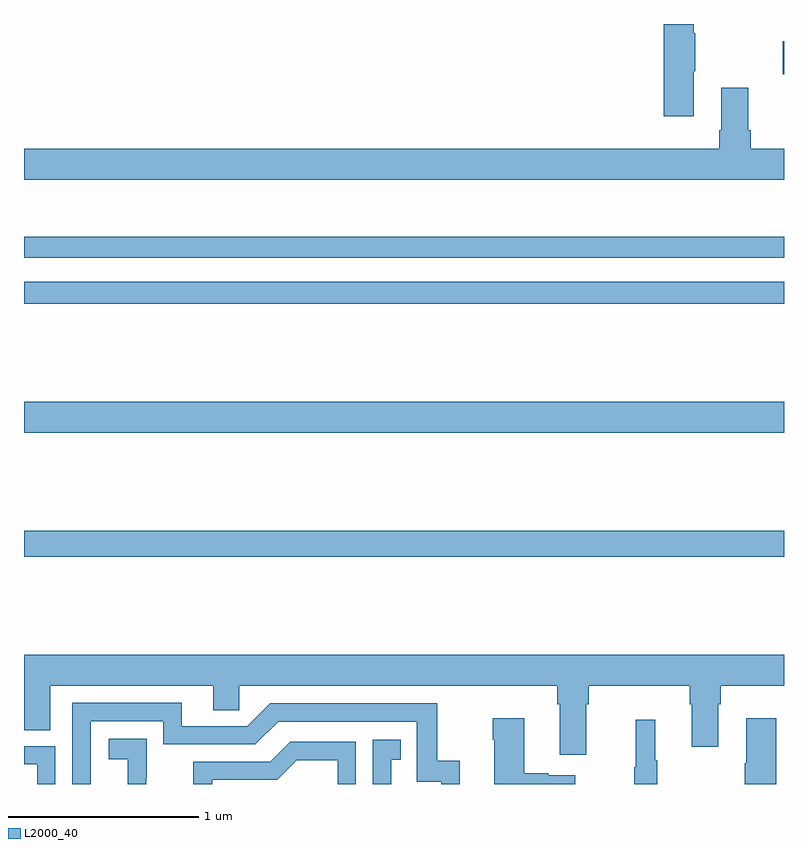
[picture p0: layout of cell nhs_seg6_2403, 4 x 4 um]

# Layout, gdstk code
import gdstk
lib = gdstk.Library(unit=1e-6, precision=1e-09)
def R(c, l, rs):  # rectangles x0, y0, x1, y1
    for r in rs: c.add(gdstk.rectangle(r[:2], r[2:], *l))
def P(c, l, *ps):  # polygons
    for p in ps: c.add(gdstk.Polygon(p, *l))
L2000_40 = (2000, 40)

nhs_seg6_2403 = lib.new_cell('nhs_seg6_2403')
R(nhs_seg6_2403, L2000_40, [(255,934.696,259,934.832), (255,935.348,259,935.512), (255,936.028,259,936.144), (255,936.27,259,936.379), (258.993,937.235,259,937.409)])
P(nhs_seg6_2403, L2000_40, [(258.526,937.252),(258.534,937.252),(258.534,937.451),(258.526,937.451),(258.526,937.5),(258.368,937.5),(258.368,937.014),(258.526,937.014)],
  [(259,936.844),(258.824,936.844),(258.824,936.94),(258.811,936.94),(258.811,937.165),(258.671,937.165),(258.671,936.94),(258.659,936.94),(258.659,936.844),(255,936.844),(255,936.68),(259,936.68)],
  [(257.959,933.92),(257.972,933.92),(257.972,934.016),(258.503,934.016),(258.503,933.92),(258.515,933.92),(258.515,933.696),(258.655,933.696),(258.655,933.92),(258.668,933.92),(258.668,934.016),(259,934.016),(259,934.18),(255,934.18),(255,933.784),(255.139,933.784),(255.139,934.016),(255.995,934.016),(255.995,933.889),(256.134,933.889),(256.134,934.016),(257.807,934.016),(257.807,933.92),(257.819,933.92),(257.819,933.654),(257.959,933.654)],
  [(255.351,933.831),(255.732,933.831),(255.732,933.708),(256.218,933.708),(256.338,933.828),(257.067,933.828),(257.067,933.513),(257.196,933.513),(257.196,933.5),(257.294,933.5),(257.294,933.622),(257.176,933.622),(257.176,933.924),(256.296,933.924),(256.176,933.804),(255.829,933.804),(255.829,933.927),(255.255,933.927),(255.255,933.5),(255.351,933.5)],
  [(257.902,933.547),(257.759,933.547),(257.759,933.557),(257.632,933.557),(257.632,933.847),(257.467,933.847),(257.467,933.734),(257.474,933.734),(257.474,933.5),(257.902,933.5)],
  [(258.959,933.847),(258.8,933.847),(258.8,933.608),(258.793,933.608),(258.793,933.5),(258.959,933.5)],
  [(258.334,933.625),(258.323,933.625),(258.323,933.838),(258.22,933.838),(258.22,933.588),(258.213,933.588),(258.213,933.5),(258.334,933.5)],
  [(255.644,933.533),(255.645,933.533),(255.645,933.739),(255.447,933.739),(255.447,933.629),(255.545,933.629),(255.545,933.5),(255.644,933.5)],
  [(256.933,933.627),(256.982,933.627),(256.982,933.733),(256.836,933.733),(256.836,933.5),(256.933,933.5)],
  [(255.99,933.522),(256.332,933.522),(256.436,933.626),(256.65,933.626),(256.65,933.5),(256.746,933.5),(256.746,933.723),(256.4,933.723),(256.295,933.618),(255.892,933.618),(255.892,933.5),(255.99,933.5)],
  [(255.165,933.699),(255,933.699),(255,933.603),(255.069,933.603),(255.069,933.5),(255.165,933.5)])

lib.write_gds('nhs_seg6_2403.gds')
